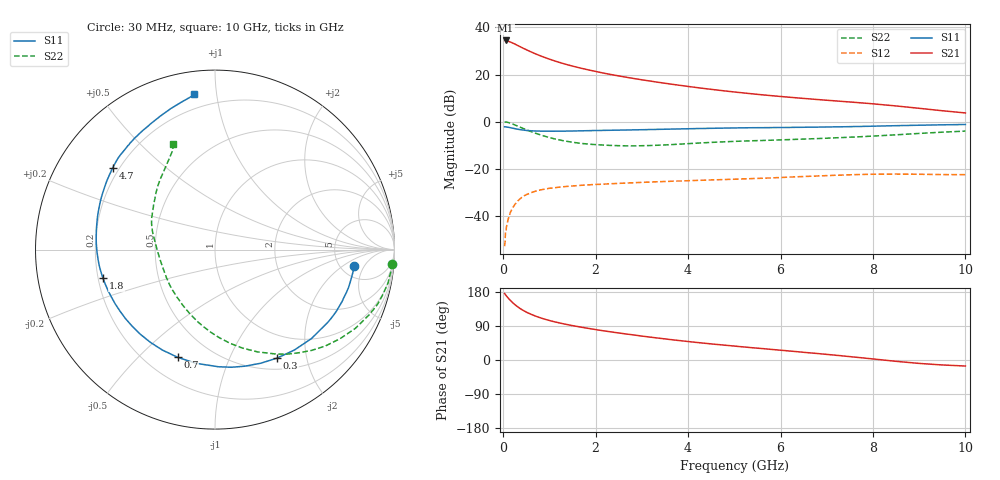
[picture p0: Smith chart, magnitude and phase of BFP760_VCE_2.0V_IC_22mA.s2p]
! Infineon Technologies  Discrete & RF Semiconductors
! BFP760
! VCE =  2.0 V,  IC =  22 mA
! Common Emitter S-Parameters:  Nov 2012
# GHz  S  MA  R  50
!  f  S11  S21  S12  S22
! GHz  MAG  ANG  MAG  ANG  MAG  ANG  MAG  ANG
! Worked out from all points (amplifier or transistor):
!   99 points, 30 MHz to 10 GHz, reference 50 ohm
!   highest |S21| = 34.4 dB at 50 MHz (marker M1)
!   |S21| within 3 dB of that: start of sweep to 402.7 MHz
!   unconditionally stable (mu >= 1): 4.57 GHz to end of sweep
!   at 350 MHz: K = 0.22, MSG = 32.4 dB, |S12| = -32.9 dB
!   at 3.5 GHz: K = 0.88, MSG = 20.8 dB, |S12| = -25.3 dB
!   at 10 GHz: K = 1.10, MAG = 11.1 dB, |S12| = -22.5 dB
!   S11 on the Smith chart (normalised r, x): 30 MHz: 6.58, -3.17; 300 MHz: 0.65, -1.52; 700 MHz: 0.33, -0.66; 1.8 GHz: 0.22, -0.12; 4.7 GHz: 0.18, +0.34; 10 GHz: 0.12, +0.87
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0.03  0.781 -6.9  52.48 175.5  0.0023 82.3  0.989 -4.5
0.05  0.7768 -11.2  52.74 171.9  0.0046 92.6  0.9868 -7.5
0.1  0.7646 -22.4  51.16 164.6  0.0078 80.0  0.9669 -15.4
0.15  0.7476 -32.9  49.13 157.8  0.0117 75.4  0.9342 -22.7
0.2  0.7311 -42.7  46.71 151.8  0.0147 69.7  0.8962 -29.4
0.3  0.6963 -60.2  41.9 141.5  0.0202 62.8  0.8167 -41.1
0.4  0.6708 -75.5  37.45 133.2  0.0248 56.2  0.7399 -51.0
0.5  0.6531 -88.3  33.53 126.4  0.0284 51.4  0.674 -59.7
0.6  0.6423 -99.6  30.24 120.7  0.0313 47.0  0.6174 -67.4
0.7  0.6351 -109.1  27.42 115.8  0.0337 44.2  0.5691 -74.5
0.9  0.6298 -124.9  22.96 107.7  0.0373 38.7  0.4913 -87.2
1.1  0.6286 -137.3  19.62 101.1  0.0397 35.1  0.4353 -98.2
1.4  0.633 -151.5  16.02 93.1  0.0427 31.5  0.3804 -112.4
1.7  0.6408 -162.5  13.5 86.3  0.0449 29.2  0.3455 -125.0
1.8  0.6444 -165.7  12.82 84.2  0.0454 28.6  0.3388 -129.0
2.5  0.6631 176.2  9.336 71.3  0.0493 25.7  0.3101 -152.8
3.4  0.6893 158.9  6.748 57.1  0.0536 23.6  0.319 -177.4
4.7  0.7297 141.3  4.604 40.2  0.0591 21.8  0.372 160.8
5.1  0.7398 137.6  4.168 35.6  0.0609 21.3  0.3859 156.4
6.7  0.7667 125.3  3.005 18.2  0.0701 18.5  0.4355 140.6
8.5  0.8238 107.3  2.158 -3.5  0.0777 9.1  0.5271 122.3
10  0.8724 97.6  1.533 -15.9  0.0754 5.3  0.6322 111.5
